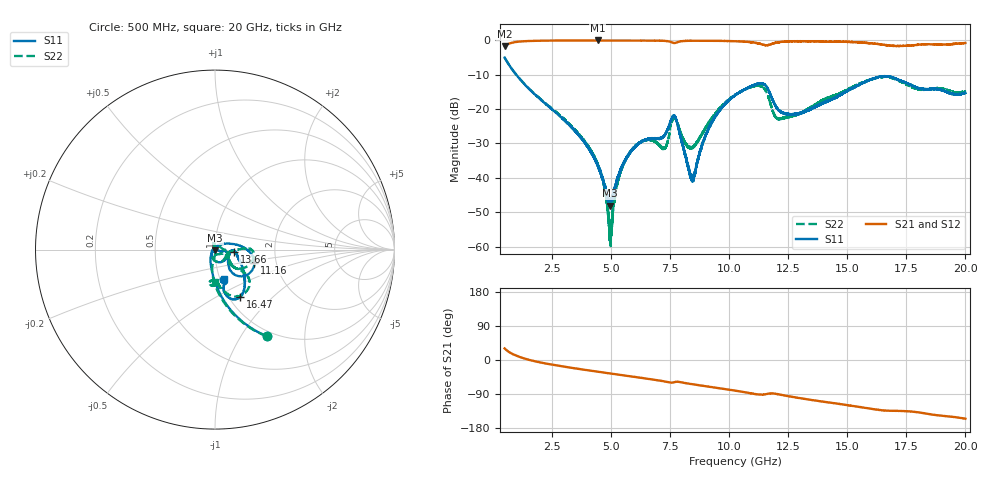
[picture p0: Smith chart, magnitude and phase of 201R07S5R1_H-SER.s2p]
!{201R07S5R1}
!Johanson Technology Inc.
!www.johansontechnology.com
!Test Board Conditions:
!Substrate Type  RO4350B
!Substrate Thickness  10 mil
!Substrate Dk  3.66
!TL Type: GCPW
!TL Trace Width  21 mil
!TL Gap  20 mil
!Electrode orientation  Horizontal
!DUT TOPOLOGY	SERIES
!Mounting Pad LxW  16x21 mil
!Agilent Technologies,N5230A,MY45001966,A.07.50.67
!Agilent N5230A: A.07.50.67
! Created Mon Mar 9 15:11:14 2020
# mhz S ma R 50
! 2 Port Network Data from SP1.SP block
! freq  magS11  angS11  magS21  angS21  magS12  angS12  magS22  angS22
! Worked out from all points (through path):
!   19501 points, 500 MHz to 20 GHz, reference 50 ohm
!   highest |S21| = -0.03 dB at 4.435 GHz (marker M1); lowest = -1.7 dB at 502 MHz (marker M2)
!   group delay of S21, straight-line fit = 23.4 ps
!   lowest |S11| = -48.1 dB at 4.953 GHz (marker M3), VSWR 1.01, Z = 50.1 - j0.383 ohm
!   |S11| at or under -10 dB: 990.1 MHz to end of sweep
!   |S22| runs from -59.9 to -5.0 dB; largest |S21 - S12| = 0.016
!   S11 on the Smith chart (normalised r, x): 500 MHz: 0.93, -1.30; 11.16 GHz: 1.54, -0.24; 13.66 GHz: 1.24, -0.03; 16.47 GHz: 1.12, -0.66; 20 GHz: 1.04, -0.35
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500  0.561 -59.1  0.824 30.5  0.8237 30.5  0.5619 -59.3
502  0.5596 -59.2  0.8239 30.4  0.8252 30.4  0.5598 -59.4
1398  0.2196 -85.8  0.9733 3.0  0.9728 3.0  0.2222 -87.4
3750  0.03762 -125.9  0.994 -24.5  0.9949 -24.6  0.03918 -93.4
4435  0.0156 -133.9  0.996 -30.8  0.994 -30.8  0.01595 -83.2
4725  0.008057 -125.2  0.9947 -33.4  0.9947 -33.4  0.007285 -74.8
4953  0.003953 -75.1  0.9936 -35.5  0.9935 -35.4  0.001219 -20.4
5297  0.01044 -17.4  0.9933 -38.4  0.9936 -38.5  0.009344 92.1
5702  0.02056 -14.0  0.9923 -42.0  0.9927 -42.0  0.02052 97.9
7000  0.0376 -20.6  0.989 -53.7  0.9884 -53.7  0.03111 93.0
7307  0.04334 -8.4  0.9789 -57.0  0.9801 -57.0  0.02812 47.7
7697  0.0797 -59.3  0.9142 -58.2  0.9138 -58.2  0.07456 -59.8
8457  0.00913 127.2  0.9872 -64.0  0.9859 -64.0  0.02813 -70.7
9208  0.0574 33.5  0.9858 -71.0  0.984 -71.0  0.06813 -14.8
10250  0.1588 4.4  0.9704 -80.8  0.9702 -80.8  0.1606 1.8
11161  0.2317 -18.3  0.9135 -90.3  0.9153 -90.1  0.2185 -8.8
12061  0.09995 -43.3  0.9359 -90.1  0.9393 -90.3  0.0722 -22.3
13500  0.1021 -3.4  0.9717 -105.6  0.9684 -105.7  0.1083 -39.5
13663  0.1086 -5.7  0.9657 -107.0  0.9726 -107.1  0.1161 -40.9
16466  0.3005 -62.1  0.8683 -132.8  0.8621 -132.3  0.2924 -54.7
16750  0.2986 -68.1  0.8445 -133.7  0.8338 -133.7  0.2935 -62.8
20000  0.1719 -73.0  0.9145 -154.9  0.9162 -154.7  0.1823 -89.9
